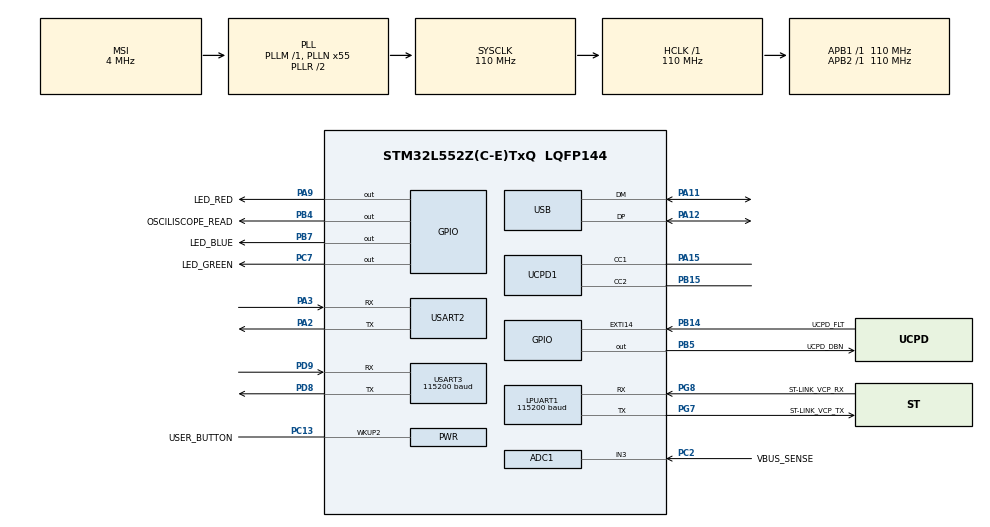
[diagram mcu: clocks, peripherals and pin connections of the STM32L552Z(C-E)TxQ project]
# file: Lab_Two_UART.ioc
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ADC1.Channel-0\#ChannelRegularConversion=ADC_CHANNEL_3
ADC1.NbrOfConversionFlag=1
ADC1.OffsetNumber-0\#ChannelRegularConversion=ADC_OFFSET_NONE
ADC1.Rank-0\#ChannelRegularConversion=1
ADC1.SamplingTime-0\#ChannelRegularConversion=ADC_SAMPLETIME_2CYCLES_5
ADC1.master=1
LPUART1.BaudRate=115200
Mcu.Family=STM32L5
Mcu.Name=STM32L552Z(C-E)TxQ
Mcu.Package=LQFP144
Mcu.TrustZone=disable
NVIC.LPUART1_IRQn=true\:0\:0\:false\:false\:true\:true\:true\:true
NVIC.PriorityGroup=NVIC_PRIORITYGROUP_3
NVIC.USART2_IRQn=true\:0\:0\:false\:false\:true\:true\:true\:true
NVIC.USART3_IRQn=true\:0\:0\:false\:false\:true\:true\:true\:true
PA11.Mode=Device
PA11.Signal=USB_DM
PA12.Mode=Device
PA12.Signal=USB_DP
PA13\ (JTMS/SWDIO).Mode=Trace_Asynchronous_SW
PA13\ (JTMS/SWDIO).Signal=DEBUG_JTMS-SWDIO
PA14\ (JTCK/SWCLK).Mode=Trace_Asynchronous_SW
PA14\ (JTCK/SWCLK).Signal=DEBUG_JTCK-SWCLK
PA15\ (JTDI).Mode=Source_AllSignals
PA15\ (JTDI).Signal=UCPD1_CC1
PA2.Mode=Asynchronous
PA2.Signal=USART2_TX
PA3.Mode=Asynchronous
PA3.Signal=USART2_RX
PA9.GPIO_Label=LED_RED
PA9.Signal=GPIO_Output
PB14.GPIO_Label=UCPD_FLT
PB14.Signal=GPXTI14
PB15.Mode=Source_AllSignals
PB15.Signal=UCPD1_CC2
PB3\ (JTDO/TRACESWO).Mode=Trace_Asynchronous_SW
PB3\ (JTDO/TRACESWO).Signal=DEBUG_JTDO-SWO
PB4\ (NJTRST).GPIO_Label=OSCILISCOPE_READ
PB4\ (NJTRST).Signal=GPIO_Output
PB5.GPIO_Label=UCPD_DBN
PB5.Signal=GPIO_Output
PB7.GPIO_Label=LED_BLUE
PB7.Signal=GPIO_Output
PC13.GPIO_Label=USER_BUTTON
PC13.Mode=WakeUp1
PC13.Signal=PWR_WKUP2
PC14-OSC32_IN\ (PC14).Mode=LSE-External-Oscillator
PC14-OSC32_IN\ (PC14).Signal=RCC_OSC32_IN
PC15-OSC32_OUT\ (PC15).Mode=LSE-External-Oscillator
PC15-OSC32_OUT\ (PC15).Signal=RCC_OSC32_OUT
PC2.GPIO_Label=VBUS_SENSE
PC2.Signal=ADCx_IN3
PC7.GPIO_Label=LED_GREEN
PC7.Signal=GPIO_Output
PD8.Mode=Asynchronous
PD8.Signal=USART3_TX
PD9.Mode=Asynchronous
PD9.Signal=USART3_RX
PG7.GPIO_Label=ST-LINK_VCP_TX
PG7.Mode=Asynchronous
PG7.Signal=LPUART1_TX
PG8.GPIO_Label=ST-LINK_VCP_RX
PG8.Mode=Asynchronous
PG8.Signal=LPUART1_RX
ProjectManager.HeapSize=0x200
ProjectManager.StackSize=0x400
ProjectManager.TargetToolchain=STM32CubeIDE
RCC.ADCCLockSelection=RCC_ADCCLKSOURCE_SYSCLK
RCC.ADCFreq_Value=110000000
RCC.AHBFreq_Value=110000000
RCC.APB1Freq_Value=110000000
RCC.APB1TimFreq_Value=110000000
RCC.APB2Freq_Value=110000000
RCC.APB2TimFreq_Value=110000000
RCC.CK48CLockSelection=RCC_USBCLKSOURCE_HSI48
RCC.CortexFreq_Value=110000000
RCC.HCLKFreq_Value=110000000
RCC.HSE_VALUE=8000000
RCC.HSI48_VALUE=48000000
RCC.HSI_VALUE=16000000
RCC.MSI_VALUE=4000000
RCC.PLLN=55
RCC.PLLSAI1N=24
RCC.RTCClockSelection=RCC_RTCCLKSOURCE_LSE
RCC.SYSCLKFreq_VALUE=110000000
RCC.SYSCLKSource=RCC_SYSCLKSOURCE_PLLCLK
RCC.USBFreq_Value=48000000
RCC.VCOOutputFreq_Value=220000000
SH.ADCx_IN3.0=ADC1_IN3,IN3-Single-Ended
USART2.VirtualMode-Asynchronous=VM_ASYNC
USART3.BaudRate=115200
USART3.VirtualMode-Asynchronous=VM_ASYNC
VP_ICACHE_VS_ICACHE.Mode=DirectMappedCache
VP_PWR_VS_DBSignals.Mode=DisableDeadBatterySignals
VP_RTC_VS_RTC_Activate.Mode=RTC_Enabled
board=NUCLEO-L552ZE-Q

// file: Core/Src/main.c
/* USER CODE BEGIN Header */
// By Samuel Meysembourg
// EE340 Fall 2025
/**
  ******************************************************************************
  * @file           : main.c
  * @brief          : Main program body
  ******************************************************************************
  * @attention
  *
  * Copyright (c) 2025 STMicroelectronics.
  * All rights reserved.
  *
  * This software is licensed under terms that can be found in the LICENSE file
  * in the root directory of this software component.
  * If no LICENSE file comes with this software, it is provided AS-IS.
  *
  ******************************************************************************
  */
/* USER CODE END Header */
#include "main.h"

/* USER CODE BEGIN Includes */

#include <string.h>
#include <stdbool.h>
#include <stdio.h>

/* USER CODE END Includes */

/* USER CODE BEGIN PTD */

// Pin Definition Struct
typedef struct
{
	GPIO_TypeDef *port;
	uint16_t pin;
}DEFINE_GPIO;

/* USER CODE END PTD */

/* USER CODE BEGIN PD */

#define LAB_TEST 2				// LAB_TEST : MACRO to enable the running of the different tests in lab 2 (0 for test0)(1 for test1)(2 for test2)
#define ENABLE_TIMESTAMP 1		// Setting this to 1 or greater enables time stamps in the printing of test 1 so we can tell how far apart they were sent.

#define DOT_LENGTH 200
#define DASH_LENGTH 500
#define INTERMEDIATE_LENGTH 200
#define INTERCHARACTER_LENGTH 600
#define SPACE_LENGTH 1000

#define LED_ON GPIO_PIN_SET
#define LED_OFF GPIO_PIN_RESET

#define LAB_UART 			&huart2
#define LAB_UART_INSTANCE 	USART2

/* USER CODE END PD */

ADC_HandleTypeDef hadc1;

UART_HandleTypeDef hlpuart1;
UART_HandleTypeDef huart2;
UART_HandleTypeDef huart3;

RTC_HandleTypeDef hrtc;

PCD_HandleTypeDef hpcd_USB_FS;

/* USER CODE BEGIN PV */

//Test 00
uint8_t tx_buffer[27] = "Welcome to EE340\n\r";

// Test 02
uint8_t rx_index;
char rx_data[2];
char rx_buffer[100];
uint8_t transfer_cplt;

bool running = false;
char display_buffer[100];
char message_buffer[250];
uint8_t display_index = 0;
volatile bool next_space = false;

// Pin Definitions
DEFINE_GPIO GREEN_LED = 		{GPIOC, GPIO_PIN_7};
DEFINE_GPIO RED_LED = 			{GPIOA, GPIO_PIN_9};
DEFINE_GPIO BLUE_LED = 			{GPIOB, GPIO_PIN_7};
DEFINE_GPIO OSCILLISCOPE_READ = {GPIOB, GPIO_PIN_4};

// Morse Code Lookup Table
int lookup_table[27][8] = 	{
							{32,4,0,0,0,0,0,0},	  // SPACE
							{65,1,3,2,0,0,0,0},     // A		// ASCII character in decimal then 1 = dot, 2 = dash, 3 = IntermediatePause, 4 = Space
							{66,2,3,1,3,1,3,1},     // B
							{67,2,3,1,3,2,3,1},     // C
							{68,2,3,1,3,1,0,0},     // D
							{69,1,0,0,0,0,0,0},     // E
							{70,1,3,1,3,2,3,1},     // F
							{71,2,3,2,3,1,0,0},     // G
							{72,1,3,1,3,1,3,1},     // H
							{73,1,3,1,0,0,0,0},     // I
							{74,1,3,2,3,2,3,2},     // J
							{75,2,3,1,3,2,0,0},     // K
							{76,1,3,2,3,1,3,1},     // L
							{77,2,3,2,0,0,0,0},     // M
							{78,2,3,1,0,0,0,0},     // N
							{79,2,3,2,3,2,0,0},     // O
							{80,1,3,2,3,2,3,1},     // P
							{81,2,3,2,3,1,3,2},     // Q
							{82,1,3,2,3,1,0,0},     // R
							{83,1,3,1,3,1,0,0},     // S
							{84,2,0,0,0,0,0,0},     // T
							{85,1,3,1,3,2,0,0},     // U
							{86,1,3,1,3,1,3,2},     // V
							{87,1,3,2,3,2,0,0},     // W
							{88,2,3,1,3,1,3,2},     // X
							{89,2,3,1,3,2,3,2},     // Y
							{90,2,3,2,3,1,3,1}      // Z
							};

/* USER CODE END PV */

void SystemClock_Config(void);
static void MX_GPIO_Init(void);
static void MX_ADC1_Init(void);
static void MX_ICACHE_Init(void);
static void MX_LPUART1_UART_Init(void);
static void MX_RTC_Init(void);
static void MX_UCPD1_Init(void);
static void MX_USB_PCD_Init(void);
static void MX_USART3_UART_Init(void);
static void MX_USART2_UART_Init(void);
/* USER CODE BEGIN PFP */

// Function Prototypes
bool Display_Character(char input_char);
bool dot(GPIO_TypeDef *port, uint16_t pin);
bool dash(GPIO_TypeDef *port, uint16_t pin);
bool space(GPIO_TypeDef *PORT, uint16_t PIN);

/* USER CODE END PFP */

/* USER CODE BEGIN 0 */

// Functions

/*
 * Function Prototype 					bool Display_Character(char input_char);
 *
 * Description:							This function will parse out the input character into the corresponding morse code sequence by
 * 											looking for the coresponding ASCII code in the lookup table.
 *
 * Inputs:								char character : character representing character typed by user. Domain A - Z (capitol).
 *
 * Outputs:								bool : True representing character was found and displayed. False representing that the
 * 											character was not found in the lookup table.
 *
 * Side Effects:						Function holds processor with waiting timer until the function successfully displayed the
 * 											led sequence associated with the character input.
 *
 * Example Usage:						for (int i = 0; i < display_index; i++)				// Display all of the characters in the display buffer in their morse code conversions
 *										{
 *											if (!Display_Character((char)display_buffer[i]))
 *											{
 *												HAL_UART_Transmit(&huart1, "Character not found...\n\r", sizeof("Character not found...\n\r"), 10);
 *											}
 *										}
*/
bool Display_Character(char input_char)
{
	// Display morse code
	    int row_match = 0;
	    bool match_found = false;

	    for (int i = 0; i < 26; i++)                    // For each row
	    {
			// Look for match in the table
			if (lookup_table[i][0] == input_char)
			{
				row_match = i;
				match_found = true;
				break;
			}
	    }
	    // Match Found
	    if (match_found)
	    {
	    	int value;

	        for (int i = 1; i < 8; i++)
	        {	// Display character
	        	value = lookup_table[row_match][i];

	            if (value == 1)
	            {
	            	dot(GREEN_LED.port, GREEN_LED.pin);		// Display a dot
	            }
	            else if (value == 2)
	            {
	            	dash(GREEN_LED.port, GREEN_LED.pin);	// Display a dash
	            }
	            else if (value == 3)
	            {
	            	HAL_Delay(INTERMEDIATE_LENGTH);
	            }
	            else if (value == 4)
				{
					space(GREEN_LED.port, GREEN_LED.pin);	// Display a space
				}

	        }
	        // Check if next char is a space or if current char is space
			if (next_space || (value == 4))
			{
				return true;
			}
			else
			{
				HAL_Delay(INTERCHARACTER_LENGTH);
				return true;
			}
	    }
	    // No match mound
	    else
	    {
	    	return false;
	    }

}

/*
 * Function Prototype 					bool dot(GPIO_TypeDef *PORT, uint16_t PIN);
 *
 * Description:							This function will display a "dot" in morse code through the LED which it takes the parameters
 * 											for as inputs.
 *
 * Inputs:								GPIO_TypeDef *PORT : GPIO port from the PinDefine structure.
 * 										uint16_t PIN : GPIO_PIN_X pin from the PinDefine structure.
 *
 * Outputs:								bool : true and false representing if the function has completed successfully or unsuccessfully respectively.
 *
 * Side Effects:						Function holds processor with waiting timer until the morse code finishes.
 *
 * Example Usage:						dot(GREEN_LED.port, GREEN_LED.pin);
*/
bool dot(GPIO_TypeDef *PORT, uint16_t PIN)
{
	// Turn on LED
	HAL_GPIO_WritePin(PORT, PIN, LED_ON);
	HAL_GPIO_WritePin(OSCILLISCOPE_READ.port, OSCILLISCOPE_READ.pin, LED_ON);
	// Delay for dot
	HAL_Delay(DOT_LENGTH);
	// Turn LED off
	HAL_GPIO_WritePin(PORT, PIN, LED_OFF);
	HAL_GPIO_WritePin(OSCILLISCOPE_READ.port, OSCILLISCOPE_READ.pin, LED_OFF);
	// Return True to indicate success
	return true;
}

/*
 * Function Prototype 					bool space(GPIO_TypeDef *PORT, uint16_t PIN);
 *
 * Description:							This function will display a "space" in morse code through the LED which it takes the parameters
 * 											for as inputs.
 *
 * Inputs:								GPIO_TypeDef *PORT : GPIO port from the PinDefine structure.
 * 										uint16_t PIN : GPIO_PIN_X pin from the PinDefine structure.
 *
 * Outputs:								bool : true and false representing if the function has completed successfully or unsuccessfully respectively.
 *
 * Side Effects:						Function holds processor with waiting timer until the morse code finishes.
 *
 * Example Usage:						space(GREEN_LED.port, GREEN_LED.pin);
*/
bool space(GPIO_TypeDef *PORT, uint16_t PIN)
{
	// Turn on LED
	HAL_GPIO_WritePin(PORT, PIN, LED_OFF);
	HAL_GPIO_WritePin(OSCILLISCOPE_READ.port, OSCILLISCOPE_READ.pin, LED_OFF);
	// Delay for Dash
	HAL_Delay(SPACE_LENGTH);
	// Return True to indicate success
	return true;
}

/*
 * Function Prototype 					bool dash(GPIO_TypeDef *PORT, uint16_t PIN);
 *
 * Description:							This function will display a "dash" in morse code through the LED which it takes the parameters
 * 											for as inputs.
 *
 * Inputs:								GPIO_TypeDef *PORT : GPIO port from the PinDefine structure.
 * 										uint16_t PIN : GPIO_PIN_X pin from the PinDefine structure.
 *
 * Outputs:								bool : true and false representing if the function has completed successfully or unsuccessfully respectively.
 *
 * Side Effects:						Function holds processor with waiting timer until the morse code finishes.
 *
 * Example Usage:						dot(GREEN_LED.port, GREEN_LED.pin);
*/
bool dash(GPIO_TypeDef *PORT, uint16_t PIN)
{
	// Turn on LED
	HAL_GPIO_WritePin(PORT, PIN, LED_ON);
	HAL_GPIO_WritePin(OSCILLISCOPE_READ.port, OSCILLISCOPE_READ.pin, LED_ON);
	// Delay for dot
	HAL_Delay(DASH_LENGTH);
	// Turn LED off
	HAL_GPIO_WritePin(PORT, PIN, LED_OFF);
	HAL_GPIO_WritePin(OSCILLISCOPE_READ.port, OSCILLISCOPE_READ.pin, LED_OFF);
	// Return True to indicate success
	return true;
}

/* USER CODE END 0 */

int main(void)
{

  /* MCU Configuration--------------------------------------------------------*/

  /* Reset of all peripherals, Initializes the Flash interface and the Systick. */
  HAL_Init();

  /* Configure the system clock */
  SystemClock_Config();

  /* Initialize all configured peripherals */
  MX_GPIO_Init();
  MX_ADC1_Init();
  MX_ICACHE_Init();
  MX_LPUART1_UART_Init();
  MX_RTC_Init();
  MX_UCPD1_Init();
  MX_USB_PCD_Init();
  MX_USART3_UART_Init();
  MX_USART2_UART_Init();
  /* USER CODE BEGIN 2 */

  // Test 02
  HAL_UART_Receive_IT(LAB_UART, (uint8_t*)rx_data, 1);		// Start initial UART RX interrupt
  HAL_GPIO_WritePin(GREEN_LED.port, GREEN_LED.pin, LED_OFF);

  /* USER CODE END 2 */

  /* Infinite loop */
  while (1)
  {

    /* USER CODE BEGIN 3 */

	  // Test 00
	  if (LAB_TEST == 0)
	  {
		  // Messages with time stamps
		  if (ENABLE_TIMESTAMP > 0)
		  {
			  uint32_t current_time = HAL_GetTick();
			  sprintf(message_buffer, "[%ld] : %s\n\r", current_time, (char*)tx_buffer);
			  HAL_UART_Transmit(&hlpuart1, (uint8_t*)message_buffer, strlen(message_buffer), 100);
			  memset(message_buffer, 0, strlen(message_buffer));
			  HAL_GPIO_TogglePin(GREEN_LED.port, GREEN_LED.pin);
			  HAL_GPIO_TogglePin(OSCILLISCOPE_READ.port, OSCILLISCOPE_READ.pin);
			  HAL_Delay(1000);
		  }
		  // Messages without time stamps
		  else
		  {
			  HAL_UART_Transmit(&hlpuart1, tx_buffer, sizeof(tx_buffer), 100);
			  HAL_GPIO_TogglePin(GREEN_LED.port, GREEN_LED.pin);
			  HAL_Delay(1000);
		  }

	  }
	  // Test 01
	  if (LAB_TEST == 1)
	  {
	  // NONE
	  }

	  // Test 02
	  if (LAB_TEST == 2)
	  {
		  // If Display flag is set
		  if (running)
		  {
			  // Disable RX IT
			  HAL_UART_AbortReceive_IT(LAB_UART);					// Disable RX interrupt while displaying morse code conversions
			  for (int i = 0; i < display_index; i++)				// Display all of the characters in the display buffer in their morse code conversions
				{
				  	// Check if next char is a space
				  	if ((char)display_buffer[i+1] == ' ')
				  	{
				  		next_space = true;
				  	}
				  	else
				  	{
				  		next_space = false;
				  	}
					if (!Display_Character((char)display_buffer[i]))
					{
						// If character is not in the lookup table
						HAL_GPIO_WritePin(RED_LED.port, RED_LED.pin, GPIO_PIN_SET);
						sprintf(message_buffer, (char*)"Character not found...%c\n\r", (char)display_buffer[i]);
						HAL_UART_Transmit(LAB_UART, (uint8_t*)message_buffer, strlen(message_buffer), 100);
						memset(message_buffer, 0, strlen(message_buffer));
						HAL_Delay(DOT_LENGTH);
						HAL_GPIO_WritePin(RED_LED.port, RED_LED.pin, GPIO_PIN_RESET);
					}
				}

			  // Reset display buffers and index
			  memset(display_buffer, 0, strlen(display_buffer));
			  // Reset flag and index
			  display_index = 0;
			  running = false;
			  // Restart UART interrupt to start receiving data again
			  HAL_UART_Receive_IT(LAB_UART, (uint8_t*)rx_data, 1);
		  }
	  }
  }

  /* USER CODE END 3 */
}

void SystemClock_Config(void)
{
  RCC_OscInitTypeDef RCC_OscInitStruct = {0};
  RCC_ClkInitTypeDef RCC_ClkInitStruct = {0};

  /** Configure the main internal regulator output voltage
  */
  if (HAL_PWREx_ControlVoltageScaling(PWR_REGULATOR_VOLTAGE_SCALE0) != HAL_OK)
  {
    Error_Handler();
  }

  /** Configure LSE Drive Capability
  */
  HAL_PWR_EnableBkUpAccess();
  __HAL_RCC_LSEDRIVE_CONFIG(RCC_LSEDRIVE_LOW);

  /** Initializes the RCC Oscillators according to the specified parameters
  * in the RCC_OscInitTypeDef structure.
  */
  RCC_OscInitStruct.OscillatorType = RCC_OSCILLATORTYPE_HSI48|RCC_OSCILLATORTYPE_LSE
                              |RCC_OSCILLATORTYPE_MSI;
  RCC_OscInitStruct.LSEState = RCC_LSE_ON;
  RCC_OscInitStruct.HSI48State = RCC_HSI48_ON;
  RCC_OscInitStruct.MSIState = RCC_MSI_ON;
  RCC_OscInitStruct.MSICalibrationValue = RCC_MSICALIBRATION_DEFAULT;
  RCC_OscInitStruct.MSIClockRange = RCC_MSIRANGE_6;
  RCC_OscInitStruct.PLL.PLLState = RCC_PLL_ON;
  RCC_OscInitStruct.PLL.PLLSource = RCC_PLLSOURCE_MSI;
  RCC_OscInitStruct.PLL.PLLM = 1;
  RCC_OscInitStruct.PLL.PLLN = 55;
  RCC_OscInitStruct.PLL.PLLP = RCC_PLLP_DIV7;
  RCC_OscInitStruct.PLL.PLLQ = RCC_PLLQ_DIV2;
  RCC_OscInitStruct.PLL.PLLR = RCC_PLLR_DIV2;
  if (HAL_RCC_OscConfig(&RCC_OscInitStruct) != HAL_OK)
  {
    Error_Handler();
  }

  /** Initializes the CPU, AHB and APB buses clocks
  */
  RCC_ClkInitStruct.ClockType = RCC_CLOCKTYPE_HCLK|RCC_CLOCKTYPE_SYSCLK
                              |RCC_CLOCKTYPE_PCLK1|RCC_CLOCKTYPE_PCLK2;
  RCC_ClkInitStruct.SYSCLKSource = RCC_SYSCLKSOURCE_PLLCLK;
  RCC_ClkInitStruct.AHBCLKDivider = RCC_SYSCLK_DIV1;
  RCC_ClkInitStruct.APB1CLKDivider = RCC_HCLK_DIV1;
  RCC_ClkInitStruct.APB2CLKDivider = RCC_HCLK_DIV1;

  if (HAL_RCC_ClockConfig(&RCC_ClkInitStruct, FLASH_LATENCY_5) != HAL_OK)
  {
    Error_Handler();
  }
}

static void MX_ADC1_Init(void)
{

  ADC_MultiModeTypeDef multimode = {0};
  ADC_ChannelConfTypeDef sConfig = {0};

  /** Common config
  */
  hadc1.Instance = ADC1;
  hadc1.Init.ClockPrescaler = ADC_CLOCK_ASYNC_DIV1;
  hadc1.Init.Resolution = ADC_RESOLUTION_12B;
  hadc1.Init.DataAlign = ADC_DATAALIGN_RIGHT;
  hadc1.Init.ScanConvMode = ADC_SCAN_DISABLE;
  hadc1.Init.EOCSelection = ADC_EOC_SINGLE_CONV;
  hadc1.Init.LowPowerAutoWait = DISABLE;
  hadc1.Init.ContinuousConvMode = DISABLE;
  hadc1.Init.NbrOfConversion = 1;
  hadc1.Init.DiscontinuousConvMode = DISABLE;
  hadc1.Init.ExternalTrigConv = ADC_SOFTWARE_START;
  hadc1.Init.ExternalTrigConvEdge = ADC_EXTERNALTRIGCONVEDGE_NONE;
  hadc1.Init.DMAContinuousRequests = DISABLE;
  hadc1.Init.Overrun = ADC_OVR_DATA_PRESERVED;
  hadc1.Init.OversamplingMode = DISABLE;
  if (HAL_ADC_Init(&hadc1) != HAL_OK)
  {
    Error_Handler();
  }

  /** Configure the ADC multi-mode
  */
  multimode.Mode = ADC_MODE_INDEPENDENT;
  if (HAL_ADCEx_MultiModeConfigChannel(&hadc1, &multimode) != HAL_OK)
  {
    Error_Handler();
  }

  /** Configure Regular Channel
  */
  sConfig.Channel = ADC_CHANNEL_3;
  sConfig.Rank = ADC_REGULAR_RANK_1;
  sConfig.SamplingTime = ADC_SAMPLETIME_2CYCLES_5;
  sConfig.SingleDiff = ADC_SINGLE_ENDED;
  sConfig.OffsetNumber = ADC_OFFSET_NONE;
  sConfig.Offset = 0;
  if (HAL_ADC_ConfigChannel(&hadc1, &sConfig) != HAL_OK)
  {
    Error_Handler();
  }

}

static void MX_ICACHE_Init(void)
{

  /** Enable instruction cache in 1-way (direct mapped cache)
  */
  if (HAL_ICACHE_ConfigAssociativityMode(ICACHE_1WAY) != HAL_OK)
  {
    Error_Handler();
  }
  if (HAL_ICACHE_Enable() != HAL_OK)
  {
    Error_Handler();
  }

}

static void MX_LPUART1_UART_Init(void)
{

  hlpuart1.Instance = LPUART1;
  hlpuart1.Init.BaudRate = 115200;
  hlpuart1.Init.WordLength = UART_WORDLENGTH_8B;
  hlpuart1.Init.StopBits = UART_STOPBITS_1;
  hlpuart1.Init.Parity = UART_PARITY_NONE;
  hlpuart1.Init.Mode = UART_MODE_TX_RX;
  hlpuart1.Init.HwFlowCtl = UART_HWCONTROL_NONE;
  hlpuart1.Init.OneBitSampling = UART_ONE_BIT_SAMPLE_DISABLE;
  hlpuart1.Init.ClockPrescaler = UART_PRESCALER_DIV1;
  hlpuart1.AdvancedInit.AdvFeatureInit = UART_ADVFEATURE_NO_INIT;
  hlpuart1.FifoMode = UART_FIFOMODE_DISABLE;
  if (HAL_UART_Init(&hlpuart1) != HAL_OK)
  {
    Error_Handler();
  }
  if (HAL_UARTEx_SetTxFifoThreshold(&hlpuart1, UART_TXFIFO_THRESHOLD_1_8) != HAL_OK)
  {
    Error_Handler();
  }
  if (HAL_UARTEx_SetRxFifoThreshold(&hlpuart1, UART_RXFIFO_THRESHOLD_1_8) != HAL_OK)
  {
    Error_Handler();
  }
  if (HAL_UARTEx_DisableFifoMode(&hlpuart1) != HAL_OK)
  {
    Error_Handler();
  }

}

static void MX_USART2_UART_Init(void)
{

  huart2.Instance = USART2;
  huart2.Init.BaudRate = 115200;
  huart2.Init.WordLength = UART_WORDLENGTH_8B;
  huart2.Init.StopBits = UART_STOPBITS_1;
  huart2.Init.Parity = UART_PARITY_NONE;
  huart2.Init.Mode = UART_MODE_TX_RX;
  huart2.Init.HwFlowCtl = UART_HWCONTROL_NONE;
  huart2.Init.OverSampling = UART_OVERSAMPLING_16;
  huart2.Init.OneBitSampling = UART_ONE_BIT_SAMPLE_DISABLE;
  huart2.Init.ClockPrescaler = UART_PRESCALER_DIV1;
  huart2.AdvancedInit.AdvFeatureInit = UART_ADVFEATURE_NO_INIT;
  if (HAL_UART_Init(&huart2) != HAL_OK)
  {
    Error_Handler();
  }
  if (HAL_UARTEx_SetTxFifoThreshold(&huart2, UART_TXFIFO_THRESHOLD_1_8) != HAL_OK)
  {
    Error_Handler();
  }
  if (HAL_UARTEx_SetRxFifoThreshold(&huart2, UART_RXFIFO_THRESHOLD_1_8) != HAL_OK)
  {
    Error_Handler();
  }
  if (HAL_UARTEx_DisableFifoMode(&huart2) != HAL_OK)
  {
    Error_Handler();
  }

}

static void MX_USART3_UART_Init(void)
{

  huart3.Instance = USART3;
  huart3.Init.BaudRate = 115200;
  huart3.Init.WordLength = UART_WORDLENGTH_8B;
  huart3.Init.StopBits = UART_STOPBITS_1;
  huart3.Init.Parity = UART_PARITY_NONE;
  huart3.Init.Mode = UART_MODE_TX_RX;
  huart3.Init.HwFlowCtl = UART_HWCONTROL_NONE;
  huart3.Init.OverSampling = UART_OVERSAMPLING_16;
  huart3.Init.OneBitSampling = UART_ONE_BIT_SAMPLE_DISABLE;
  huart3.Init.ClockPrescaler = UART_PRESCALER_DIV1;
  huart3.AdvancedInit.AdvFeatureInit = UART_ADVFEATURE_NO_INIT;
  if (HAL_UART_Init(&huart3) != HAL_OK)
  {
    Error_Handler();
  }
  if (HAL_UARTEx_SetTxFifoThreshold(&huart3, UART_TXFIFO_THRESHOLD_1_8) != HAL_OK)
  {
    Error_Handler();
  }
  if (HAL_UARTEx_SetRxFifoThreshold(&huart3, UART_RXFIFO_THRESHOLD_1_8) != HAL_OK)
  {
    Error_Handler();
  }
  if (HAL_UARTEx_DisableFifoMode(&huart3) != HAL_OK)
  {
    Error_Handler();
  }

}

static void MX_RTC_Init(void)
{

  RTC_PrivilegeStateTypeDef privilegeState = {0};

  /** Initialize RTC Only
  */
  hrtc.Instance = RTC;
  hrtc.Init.HourFormat = RTC_HOURFORMAT_24;
  hrtc.Init.AsynchPrediv = 127;
  hrtc.Init.SynchPrediv = 255;
  hrtc.Init.OutPut = RTC_OUTPUT_DISABLE;
  hrtc.Init.OutPutRemap = RTC_OUTPUT_REMAP_NONE;
  hrtc.Init.OutPutPolarity = RTC_OUTPUT_POLARITY_HIGH;
  hrtc.Init.OutPutType = RTC_OUTPUT_TYPE_OPENDRAIN;
  hrtc.Init.OutPutPullUp = RTC_OUTPUT_PULLUP_NONE;
  if (HAL_RTC_Init(&hrtc) != HAL_OK)
  {
    Error_Handler();
  }
  privilegeState.rtcPrivilegeFull = RTC_PRIVILEGE_FULL_NO;
  privilegeState.backupRegisterPrivZone = RTC_PRIVILEGE_BKUP_ZONE_NONE;
  privilegeState.backupRegisterStartZone2 = RTC_BKP_DR0;
  privilegeState.backupRegisterStartZone3 = RTC_BKP_DR0;
  if (HAL_RTCEx_PrivilegeModeSet(&hrtc, &privilegeState) != HAL_OK)
  {
    Error_Handler();
  }

}

static void MX_UCPD1_Init(void)
{

  LL_GPIO_InitTypeDef GPIO_InitStruct = {0};

  /* Peripheral clock enable */
  LL_APB1_GRP2_EnableClock(LL_APB1_GRP2_PERIPH_UCPD1);

  LL_AHB2_GRP1_EnableClock(LL_AHB2_GRP1_PERIPH_GPIOB);
  LL_AHB2_GRP1_EnableClock(LL_AHB2_GRP1_PERIPH_GPIOA);
  /**UCPD1 GPIO Configuration
  PB15   ------> UCPD1_CC2
  PA15 (JTDI)   ------> UCPD1_CC1
  */
  GPIO_InitStruct.Pin = LL_GPIO_PIN_15;
  GPIO_InitStruct.Mode = LL_GPIO_MODE_ANALOG;
  GPIO_InitStruct.Pull = LL_GPIO_PULL_NO;
  LL_GPIO_Init(GPIOB, &GPIO_InitStruct);

  GPIO_InitStruct.Pin = LL_GPIO_PIN_15;
  GPIO_InitStruct.Mode = LL_GPIO_MODE_ANALOG;
  GPIO_InitStruct.Pull = LL_GPIO_PULL_NO;
  LL_GPIO_Init(GPIOA, &GPIO_InitStruct);

}

static void MX_USB_PCD_Init(void)
{

  hpcd_USB_FS.Instance = USB;
  hpcd_USB_FS.Init.dev_endpoints = 8;
  hpcd_USB_FS.Init.speed = PCD_SPEED_FULL;
  hpcd_USB_FS.Init.phy_itface = PCD_PHY_EMBEDDED;
  hpcd_USB_FS.Init.Sof_enable = DISABLE;
  hpcd_USB_FS.Init.low_power_enable = DISABLE;
  hpcd_USB_FS.Init.lpm_enable = DISABLE;
  hpcd_USB_FS.Init.battery_charging_enable = DISABLE;
  if (HAL_PCD_Init(&hpcd_USB_FS) != HAL_OK)
  {
    Error_Handler();
  }

}

static void MX_GPIO_Init(void)
{
  GPIO_InitTypeDef GPIO_InitStruct = {0};

  /* GPIO Ports Clock Enable */
  __HAL_RCC_GPIOC_CLK_ENABLE();
  __HAL_RCC_GPIOA_CLK_ENABLE();
  __HAL_RCC_GPIOB_CLK_ENABLE();
  __HAL_RCC_GPIOD_CLK_ENABLE();
  __HAL_RCC_GPIOG_CLK_ENABLE();
  HAL_PWREx_EnableVddIO2();

  /*Configure GPIO pin Output Level */
  HAL_GPIO_WritePin(LED_GREEN_GPIO_Port, LED_GREEN_Pin, GPIO_PIN_RESET);

  /*Configure GPIO pin Output Level */
  HAL_GPIO_WritePin(LED_RED_GPIO_Port, LED_RED_Pin, GPIO_PIN_RESET);

  /*Configure GPIO pin Output Level */
  HAL_GPIO_WritePin(GPIOB, OSCILISCOPE_READ_Pin|UCPD_DBN_Pin|LED_BLUE_Pin, GPIO_PIN_RESET);

  /*Configure GPIO pin : UCPD_FLT_Pin */
  GPIO_InitStruct.Pin = UCPD_FLT_Pin;
  GPIO_InitStruct.Mode = GPIO_MODE_IT_RISING;
  GPIO_InitStruct.Pull = GPIO_NOPULL;
  HAL_GPIO_Init(UCPD_FLT_GPIO_Port, &GPIO_InitStruct);

  /*Configure GPIO pin : LED_GREEN_Pin */
  GPIO_InitStruct.Pin = LED_GREEN_Pin;
  GPIO_InitStruct.Mode = GPIO_MODE_OUTPUT_PP;
  GPIO_InitStruct.Pull = GPIO_NOPULL;
  GPIO_InitStruct.Speed = GPIO_SPEED_FREQ_LOW;
  HAL_GPIO_Init(LED_GREEN_GPIO_Port, &GPIO_InitStruct);

  /*Configure GPIO pin : LED_RED_Pin */
  GPIO_InitStruct.Pin = LED_RED_Pin;
  GPIO_InitStruct.Mode = GPIO_MODE_OUTPUT_PP;
  GPIO_InitStruct.Pull = GPIO_NOPULL;
  GPIO_InitStruct.Speed = GPIO_SPEED_FREQ_LOW;
  HAL_GPIO_Init(LED_RED_GPIO_Port, &GPIO_InitStruct);

  /*Configure GPIO pins : OSCILISCOPE_READ_Pin UCPD_DBN_Pin LED_BLUE_Pin */
  GPIO_InitStruct.Pin = OSCILISCOPE_READ_Pin|UCPD_DBN_Pin|LED_BLUE_Pin;
  GPIO_InitStruct.Mode = GPIO_MODE_OUTPUT_PP;
  GPIO_InitStruct.Pull = GPIO_NOPULL;
  GPIO_InitStruct.Speed = GPIO_SPEED_FREQ_LOW;
  HAL_GPIO_Init(GPIOB, &GPIO_InitStruct);

}

/* USER CODE BEGIN 4 */

// Test 02
/*
 * Function Prototype 					void HAL_UART_RxCpltCallback(UART_HandleTypeDef *huart);
 *
 * Description:							This function is the non weak definition of the UART callback for receive. This will run when
 * 											the UART RX interrupt triggers it (when one byte of data is received. This function will
 * 											run if the running flag is false meaning the main while loop is not displaying the
 * 											display_buffer. When the user types the return character the function will transfer the
 * 											rx_buffer to the display_buffer then set the running flag to true to trigger the main while
 * 											loop to start displaying the characters in the buffer in their morse code conversions.
 *
 * Inputs:								UART_HandleTypeDef *huart : pointer to the UART structure to communicate with.
 *
 * Outputs:								void : NONE
 *
 * Side Effects:						Function changes the buffer and display variables / turns off LEDs
*/
void HAL_UART_RxCpltCallback(UART_HandleTypeDef *huart)
{
	if (LAB_TEST == 0)
	{
		return;
	}

	if (LAB_TEST == 1)
	{
		  uint8_t i;
		  	  if(huart->Instance == LAB_UART_INSTANCE)
		  	  {
		  		  // If index reset or at 0
		  		  if(rx_index == 0)
		  		  {
		  			 for(i = 0; i < 100; i++)
		  			 {
		  				 rx_buffer[i] = 0;
		  			 }
		  			 HAL_GPIO_WritePin(BLUE_LED.port, BLUE_LED.pin, 0);
		  			 HAL_GPIO_WritePin(OSCILLISCOPE_READ.port, OSCILLISCOPE_READ.pin, LED_OFF);
		  		  }
		  		  // If not carriage return
		  		  if(rx_data[0] != 13){
		  			  rx_buffer[rx_index++] = rx_data[0];
		  		  }
		  		  // If carriage return
		  		  else{
		  			  rx_index = 0;
		  			  transfer_cplt = 1;
		  			  HAL_UART_Transmit(LAB_UART, (uint8_t*)"\n\r", 2, 100);
		  			  if(!strcmp(rx_buffer, "LED ON"))
		  			  {
		  				HAL_GPIO_WritePin(BLUE_LED.port, BLUE_LED.pin, 1);
		  				HAL_GPIO_WritePin(OSCILLISCOPE_READ.port, OSCILLISCOPE_READ.pin, LED_ON);
		  			  }
		  		  }
		  		  HAL_UART_Receive_IT(LAB_UART, (uint8_t*)rx_data, 1);
		  		  HAL_UART_Transmit(LAB_UART, (uint8_t*)rx_data, strlen(rx_data), 100);
		  	  }

	}

	if (LAB_TEST == 2)
	{
		uint8_t i;
		if((huart->Instance == LAB_UART_INSTANCE) && !running)									// Check if interrupt came from USART 3 and not any of the other UART multiplexed with this port
		{
			if(rx_index == 0)																	// If the position in the buffer is 0 then reset the whole buffer
			{
				for(i = 0; i < 100; i++)
				{
					rx_buffer[i] = 0;
				}

				HAL_GPIO_WritePin(GREEN_LED.port, GREEN_LED.pin, LED_OFF);						// Turn off the LED to indicate the buffer has been cleared
		}

		if(rx_data[0] != 13)																	// If incoming data is not the carriage return save data to buffer
		{
			rx_buffer[rx_index++] = rx_data[0];													// Add data to rx_buffer if not carriage return
		}

		else																					// If incoming data is the carriage return do this...
		{
			transfer_cplt = 1;																	// Set transfer complete flag to high
			HAL_UART_Transmit(LAB_UART, (uint8_t *)"\n\r", 2, 100);								// Send new line and carriage return to serial monitor

			// Test 02
			running = true;
			// Copy buffer display index
			display_index = rx_index;
			for(i = 0; i < 100; i++)														// Transfer the rx_buffer into a new display buffer
			{
				display_buffer[i] = rx_buffer[i];
			}
			rx_index = 0;																		// Reset index to 0
		}
		HAL_UART_Receive_IT(LAB_UART, (uint8_t*)rx_data, 1);									// Initialize UART interrupt again
		HAL_UART_Transmit(LAB_UART, (uint8_t*)rx_data, 1, 100);									// Echo back UART received data
		}
	}
}

/* USER CODE END 4 */

void Error_Handler(void)
{
  __disable_irq();
  while (1)
  {
  }
}
